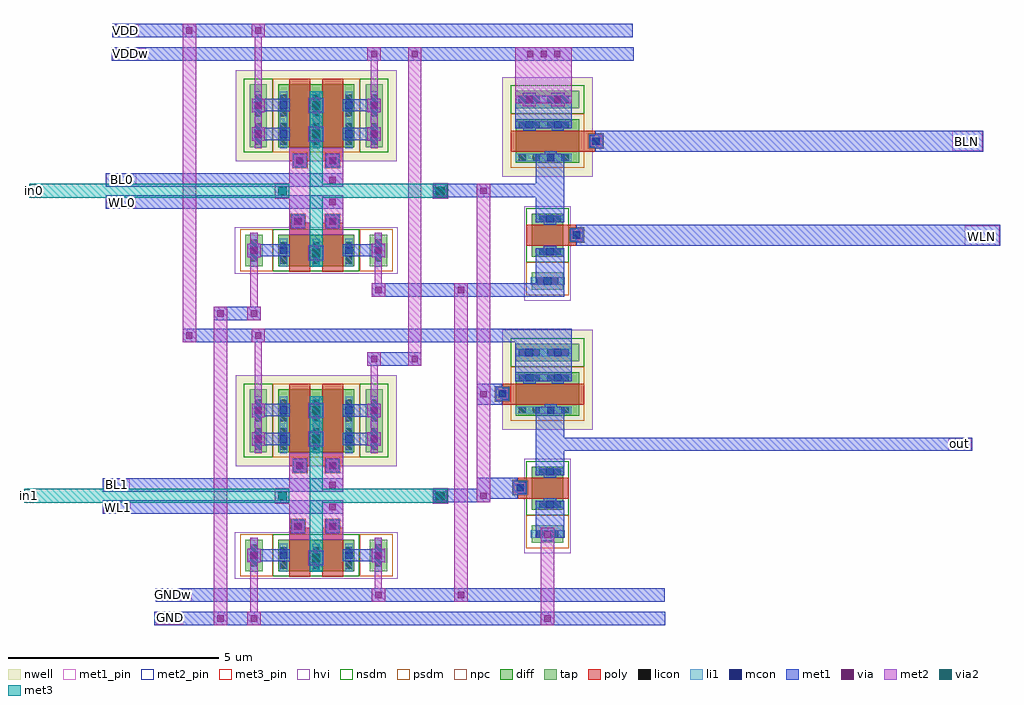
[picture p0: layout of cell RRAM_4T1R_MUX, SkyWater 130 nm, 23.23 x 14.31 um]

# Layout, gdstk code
from math import pi, radians
import gdstk
lib = gdstk.Library(unit=1e-6, precision=1e-09)
def R(c, l, rs):  # rectangles x0, y0, x1, y1
    for r in rs: c.add(gdstk.rectangle(r[:2], r[2:], *l))
def A(c, l, x, y, w, h, nx, ny, dx, dy):  # array of equal rectangles
    R(c, l, [(x+i*dx, y+j*dy, x+i*dx+w, y+j*dy+h) for i in range(nx) for j in range(ny)])
nwell = (64, 20)
diff = (65, 20)
tap = (65, 44)
poly = (66, 20)
licon = (66, 44)
li1 = (67, 20)
mcon = (67, 44)
met1_pin = (68, 16)
met1 = (68, 20)
via = (68, 44)
met2_pin = (69, 16)
met2 = (69, 20)
via2 = (69, 44)
met3_pin = (70, 16)
met3 = (70, 20)
hvi = (75, 20)
nsdm = (93, 44)
psdm = (94, 20)
npc = (95, 20)

l1m1_c_cdns_630369580172 = lib.new_cell('L1M1_C_CDNS_6303695801729')
R(l1m1_c_cdns_630369580172, li1, [(-0.085,-0.085,0.085,0.085)])
R(l1m1_c_cdns_630369580172, mcon, [(-0.085,-0.085,0.085,0.085)])
R(l1m1_c_cdns_630369580172, met1, [(-0.16,-0.16,0.16,0.16)])

l1m1_c_cdns_630369580173 = lib.new_cell('L1M1_C_CDNS_6303695801734')
R(l1m1_c_cdns_630369580173, li1, [(-0.085,-0.085,0.085,0.085)])
R(l1m1_c_cdns_630369580173, mcon, [(-0.085,-0.085,0.085,0.085)])
R(l1m1_c_cdns_630369580173, met1, [(-0.145,-0.145,0.145,0.145)])

l1m1_c_cdns_630369580174 = lib.new_cell('L1M1_C_CDNS_6303695801740')
R(l1m1_c_cdns_630369580174, li1, [(-0.1,-0.1,0.1,0.1)])
R(l1m1_c_cdns_630369580174, mcon, [(-0.085,-0.085,0.085,0.085)])
R(l1m1_c_cdns_630369580174, met1, [(-0.16,-0.16,0.16,0.16)])

m1m2_c_cdns_630369580172 = lib.new_cell('M1M2_C_CDNS_6303695801725')
R(m1m2_c_cdns_630369580172, met1, [(-0.16,-0.16,0.16,0.16)])
R(m1m2_c_cdns_630369580172, via, [(-0.075,-0.075,0.075,0.075)])
R(m1m2_c_cdns_630369580172, met2, [(-0.16,-0.16,0.16,0.16)])

m1m2_c_cdns_630369580173 = lib.new_cell('M1M2_C_CDNS_6303695801739')
R(m1m2_c_cdns_630369580173, met1, [(-0.16,-0.16,0.16,0.16)])
R(m1m2_c_cdns_630369580173, via, [(-0.075,-0.075,0.075,0.075)])
R(m1m2_c_cdns_630369580173, met2, [(-0.185,-0.185,0.185,0.185)])

m1m2_c_cdns_630369580174 = lib.new_cell('M1M2_C_CDNS_6303695801741')
R(m1m2_c_cdns_630369580174, met1, [(-0.48,-0.16,0.48,0.16)])
A(m1m2_c_cdns_630369580174, via, -0.395, -0.075, 0.15, 0.15, 3, 1, 0.32, 0)
R(m1m2_c_cdns_630369580174, met2, [(-0.48,-0.16,0.48,0.16)])

m2m3_c_cdns_630369580173 = lib.new_cell('M2M3_C_CDNS_6303695801738')
R(m2m3_c_cdns_630369580173, met2, [(-0.185,-0.185,0.185,0.185)])
R(m2m3_c_cdns_630369580173, via2, [(-0.1,-0.1,0.1,0.1)])
R(m2m3_c_cdns_630369580173, met3, [(-0.165,-0.165,0.165,0.165)])

pyl1_c_cdns_630369580173 = lib.new_cell('PYL1_C_CDNS_6303695801737')
R(pyl1_c_cdns_630369580173, poly, [(-0.165,-0.165,0.165,0.165)])
R(pyl1_c_cdns_630369580173, licon, [(-0.085,-0.085,0.085,0.085)])
R(pyl1_c_cdns_630369580173, li1, [(-0.165,-0.165,0.165,0.165)])
R(pyl1_c_cdns_630369580173, npc, [(-0.185,-0.185,0.185,0.185)])

dfl1sd_cdns_630369580171 = lib.new_cell('DFL1sd_CDNS_6303695801712')
R(dfl1sd_cdns_630369580171, nwell, [(-0.18,-0.18,0.445,1.68)])
R(dfl1sd_cdns_630369580171, diff, [(0,0,0.265,1.5)])
A(dfl1sd_cdns_630369580171, licon, 0.055, 0.06, 0.17, 0.17, 1, 4, 0, 0.34)
R(dfl1sd_cdns_630369580171, li1, [(0.055,-0.02,0.225,1.33)])
R(dfl1sd_cdns_630369580171, psdm, [(-0.125,-0.125,0.39,1.625)])

pfet_symbolic_cdns_63036 = lib.new_cell('pfet_symbolic_CDNS_6303695801711')
R(pfet_symbolic_cdns_63036, nwell, [(-0.445,-0.18,0.945,1.68)])
R(pfet_symbolic_cdns_63036, diff, [(-0.25,0,0,1.5), (0,0,0.5,1.5), (0.5,0,0.75,1.5)])
R(pfet_symbolic_cdns_63036, poly, [(0,-0.13,0.5,1.63), (0,-0.13,0.5,0), (0,1.5,0.5,1.63)])
R(pfet_symbolic_cdns_63036, li1, [(-0.225,-0.02,-0.055,1.33), (0.555,-0.02,0.725,1.33)])
R(pfet_symbolic_cdns_63036, psdm, [(-0.25,-0.125,0.75,1.625)])
pfet_symbolic_cdns_63036.add(gdstk.Reference(dfl1sd_cdns_630369580171, (0.5,0)))
pfet_symbolic_cdns_63036.add(gdstk.Reference(dfl1sd_cdns_630369580171, (0,0), rotation=pi, x_reflection=True))
pfet_symbolic_cdns_63036.add(gdstk.Label('D', (0.64,0.655), layer=83, texttype=44))
pfet_symbolic_cdns_63036.add(gdstk.Label('S', (-0.14,0.655), layer=83, texttype=44))

pfet_cdns_6303695801710 = lib.new_cell('pfet_CDNS_6303695801710')
R(pfet_cdns_6303695801710, nwell, [(-1.275,-0.33,-0.445,1.83), (-0.595,-0.33,1.095,1.83)])
R(pfet_cdns_6303695801710, tap, [(-0.945,0,-0.535,1.5)])
A(pfet_cdns_6303695801710, licon, -0.825, 0.06, 0.17, 0.17, 1, 4, 0, 0.34)
R(pfet_cdns_6303695801710, li1, [(-0.825,-0.02,-0.655,1.33)])
R(pfet_cdns_6303695801710, hvi, [(-1.275,-0.33,-0.445,1.83), (-0.595,-0.33,1.095,1.83)])
R(pfet_cdns_6303695801710, nsdm, [(-1.08,-0.125,-0.4,1.625)])
R(pfet_cdns_6303695801710, psdm, [(-0.4,-0.125,-0.39,1.625)])
pfet_cdns_6303695801710.add(gdstk.Reference(pfet_symbolic_cdns_63036, (0,0)))

rram2_0 = lib.new_cell('rram2_0')
R(rram2_0, met1_pin, [(-0.16,-0.13,0.16,0.13)])
R(rram2_0, met1, [(-0.16,-0.13,0.16,0.13)])
R(rram2_0, via, [(-0.075,-0.075,0.075,0.075)])
R(rram2_0, met2_pin, [(-0.13,-0.16,0.13,0.16)])
R(rram2_0, met2, [(-0.13,-0.16,0.13,0.16)])
rram2_0.add(gdstk.Label('TE', (0,0), layer=69, texttype=5))
rram2_0.add(gdstk.Label('BE', (0,0), layer=68, texttype=5))

dfl1sd_cdns_630369580176 = lib.new_cell('DFL1sd_CDNS_630369580176')
R(dfl1sd_cdns_630369580176, diff, [(0,0,0.265,0.75)])
R(dfl1sd_cdns_630369580176, licon, [(0.055,0.06,0.225,0.23), (0.055,0.4,0.225,0.57)])
R(dfl1sd_cdns_630369580176, li1, [(0.055,-0.02,0.225,0.65)])
R(dfl1sd_cdns_630369580176, nsdm, [(-0.125,-0.125,0.39,0.875)])

nfet_symbolic_cdns_63036 = lib.new_cell('nfet_symbolic_CDNS_630369580175')
R(nfet_symbolic_cdns_63036, diff, [(-0.25,0,0,0.75), (0,0,0.5,0.75), (0.5,0,0.75,0.75)])
R(nfet_symbolic_cdns_63036, poly, [(0,-0.13,0.5,0.88), (0,-0.13,0.5,0), (0,0.75,0.5,0.88)])
R(nfet_symbolic_cdns_63036, li1, [(-0.225,-0.02,-0.055,0.65), (0.555,-0.02,0.725,0.65)])
R(nfet_symbolic_cdns_63036, nsdm, [(-0.25,-0.125,0.75,0.875)])
nfet_symbolic_cdns_63036.add(gdstk.Reference(dfl1sd_cdns_630369580176, (0.5,0)))
nfet_symbolic_cdns_63036.add(gdstk.Reference(dfl1sd_cdns_630369580176, (0,0), rotation=pi, x_reflection=True))
nfet_symbolic_cdns_63036.add(gdstk.Label('D', (0.64,0.315), layer=83, texttype=44))
nfet_symbolic_cdns_63036.add(gdstk.Label('S', (-0.14,0.315), layer=83, texttype=44))

nfet_cdns_630369580174 = lib.new_cell('nfet_CDNS_630369580174')
R(nfet_cdns_630369580174, hvi, [(-0.445,-0.18,0.945,0.93)])
nfet_cdns_630369580174.add(gdstk.Reference(nfet_symbolic_cdns_63036, (0,0)))

rram_4t1r_mux = lib.new_cell('RRAM_4T1R_MUX')
R(rram_4t1r_mux, tap, [(0.05,-13.265,0.46,-12.515), (3.01,-13.265,3.42,-12.515), (6.865,-12.585,7.615,-12.175), (6.865,-6.565,7.615,-6.155), (0.05,-6.005,0.46,-5.255), (3.01,-6.005,3.42,-5.255)])
R(rram_4t1r_mux, poly, [(1.095,-12.385,1.595,-12.235), (1.875,-12.385,2.375,-12.235), (6.535,-11.54,6.735,-11.04), (1.095,-10.765,1.595,-10.565), (1.875,-10.765,2.375,-10.565), (6.16,-9.3,6.36,-8.8), (7.745,-5.52,7.92,-5.02), (1.095,-5.125,1.595,-4.975), (1.875,-5.125,2.375,-4.975), (1.095,-3.505,1.595,-3.305), (1.875,-3.505,2.375,-3.305), (8.12,-3.28,8.375,-2.78)])
R(rram_4t1r_mux, licon, [(3.13,-13.15,3.3,-12.98), (0.17,-13.145,0.34,-12.975), (0.17,-12.805,0.34,-12.635), (3.13,-12.8,3.3,-12.63), (6.98,-12.465,7.15,-12.295), (7.33,-12.465,7.5,-12.295), (6.98,-6.445,7.15,-6.275), (7.33,-6.445,7.5,-6.275), (3.13,-5.89,3.3,-5.72), (0.17,-5.885,0.34,-5.715), (0.17,-5.545,0.34,-5.375), (3.13,-5.54,3.3,-5.37)])
R(rram_4t1r_mux, li1, [(0.17,-13.285,0.34,-12.475), (3.13,-13.285,3.3,-12.475), (6.845,-12.465,7.655,-12.295), (6.845,-6.445,7.655,-6.275), (0.17,-6.025,0.34,-5.215), (3.13,-6.025,3.3,-5.215)])
R(rram_4t1r_mux, met1_pin, [(-2.085,-14.535,-1.43,-14.25), (-2.075,-13.98,-1.23,-13.69), (-3.325,-11.885,-2.675,-11.6), (-3.315,-11.37,-2.7,-11.08), (16.78,-10.39,17.33,-10.105), (17.175,-5.505,17.99,-5.05), (-3.265,-4.63,-2.565,-4.33), (-3.265,-4.11,-2.55,-3.805), (16.87,-3.265,17.59,-2.8), (-3.12,-1.105,-2.31,-0.815), (-3.1,-0.545,-2.49,-0.26)])
R(rram_4t1r_mux, met1, [(-2.12,-14.55,10.045,-14.23), (-2.09,-13.995,10.035,-13.675), (0.11,-13.035,1.1,-12.745), (2.37,-13.035,3.365,-12.745), (6.965,-12.465,7.635,-11.595), (-3.345,-11.9,2.375,-11.58), (4.535,-11.63,5.875,-11.31), (5.555,-11.54,6.535,-11.04), (-3.345,-11.375,2.375,-11.055), (6.965,-10.985,7.635,-9.355), (7.635,-10.405,17.345,-10.085), (0.21,-10.265,1.1,-9.975), (2.37,-10.265,3.26,-9.975), (2.37,-9.585,3.26,-9.295), (0.21,-9.575,1.1,-9.285), (5.555,-9.3,6.16,-8.8), (6.47,-8.745,7.82,-7.5), (2.955,-8.375,4.24,-8.055), (-1.445,-7.82,7.815,-7.5), (-0.7,-7.29,0.415,-6.97), (3.055,-6.735,7.635,-6.415), (6.965,-6.735,7.635,-5.575), (0.11,-5.775,1.1,-5.485), (2.37,-5.775,3.365,-5.485), (7.92,-5.52,18.01,-5.02), (6.965,-4.965,7.635,-3.335), (-3.28,-4.64,2.375,-4.32), (4.535,-4.37,5.875,-4.05), (5.555,-4.37,7.31,-4.05), (-3.28,-4.115,2.375,-3.795), (8.375,-3.28,17.61,-2.78), (0.21,-3.005,1.1,-2.715), (2.37,-3.005,3.26,-2.715), (6.47,-2.725,7.82,-1.955), (2.37,-2.325,3.26,-2.035), (0.21,-2.315,1.1,-2.025), (-3.135,-1.115,9.29,-0.795), (-3.12,-0.56,9.27,-0.24)])
R(rram_4t1r_mux, met2, [(-0.7,-14.55,-0.38,-6.97), (0.17,-14.55,0.34,-12.475), (7.08,-14.55,7.4,-12.235), (3.13,-13.995,3.3,-12.475), (5.02,-13.995,5.34,-6.415), (1.095,-12.515,1.595,-10.445), (1.875,-12.515,2.375,-11.58), (5.555,-11.63,5.875,-4.05), (1.875,-11.375,2.375,-10.445), (0.27,-10.455,0.44,-7.5), (3.03,-10.455,3.2,-8.055), (3.92,-8.375,4.24,-0.795), (-1.445,-7.82,-1.125,-0.24), (0.17,-7.29,0.34,-5.215), (3.13,-6.735,3.3,-5.215), (1.095,-5.255,1.595,-3.185), (1.875,-5.255,2.375,-4.32), (1.875,-4.115,2.375,-3.185), (0.27,-3.195,0.44,-0.24), (3.03,-3.195,3.2,-0.795), (6.47,-2.125,7.82,-0.795)])
R(rram_4t1r_mux, met3_pin, [(-5.21,-11.63,-4.965,-11.32), (-5.085,-4.37,-4.815,-4.06)])
R(rram_4t1r_mux, met3, [(1.585,-13.285,1.885,-9.105), (-5.22,-11.64,1.095,-11.31), (1.585,-11.64,4.86,-11.31), (1.585,-6.025,1.885,-1.845), (-5.095,-4.38,1.095,-4.05), (1.585,-4.38,4.86,-4.05)])
R(rram_4t1r_mux, hvi, [(-0.2,-13.445,0.655,-12.335), (2.82,-13.445,3.68,-12.335), (6.685,-12.845,7.795,-11.985), (6.685,-6.825,7.795,-5.965), (-0.2,-6.185,0.655,-5.075), (2.82,-6.185,3.68,-5.075)])
R(rram_4t1r_mux, psdm, [(-0.075,-13.39,0.7,-12.39), (2.77,-13.39,3.555,-12.39), (6.74,-12.72,7.74,-11.935), (6.74,-6.7,7.74,-5.915), (-0.075,-6.13,0.7,-5.13), (2.77,-6.13,3.555,-5.13)])
rram_4t1r_mux.add(gdstk.Reference(l1m1_c_cdns_630369580172, (0.355,-10.12)))
rram_4t1r_mux.add(gdstk.Reference(l1m1_c_cdns_630369580172, (3.215,-12.895)))
rram_4t1r_mux.add(gdstk.Reference(l1m1_c_cdns_630369580172, (0.255,-12.89)))
rram_4t1r_mux.add(gdstk.Reference(l1m1_c_cdns_630369580172, (3.115,-10.12)))
rram_4t1r_mux.add(gdstk.Reference(l1m1_c_cdns_630369580172, (3.115,-9.44)))
rram_4t1r_mux.add(gdstk.Reference(l1m1_c_cdns_630369580172, (0.355,-9.44)))
rram_4t1r_mux.add(gdstk.Reference(l1m1_c_cdns_630369580172, (2.125,-12.2)))
rram_4t1r_mux.add(gdstk.Reference(l1m1_c_cdns_630369580172, (2.125,-10.755)))
rram_4t1r_mux.add(gdstk.Reference(l1m1_c_cdns_630369580172, (1.345,-10.755)))
rram_4t1r_mux.add(gdstk.Reference(l1m1_c_cdns_630369580172, (1.3,-12.2)))
rram_4t1r_mux.add(gdstk.Reference(l1m1_c_cdns_630369580172, (0.355,-2.86)))
rram_4t1r_mux.add(gdstk.Reference(l1m1_c_cdns_630369580172, (3.115,-2.86)))
rram_4t1r_mux.add(gdstk.Reference(l1m1_c_cdns_630369580172, (3.215,-5.635)))
rram_4t1r_mux.add(gdstk.Reference(l1m1_c_cdns_630369580172, (0.255,-5.63)))
rram_4t1r_mux.add(gdstk.Reference(l1m1_c_cdns_630369580172, (2.125,-4.94)))
rram_4t1r_mux.add(gdstk.Reference(l1m1_c_cdns_630369580172, (2.125,-3.495)))
rram_4t1r_mux.add(gdstk.Reference(l1m1_c_cdns_630369580172, (1.345,-3.495)))
rram_4t1r_mux.add(gdstk.Reference(l1m1_c_cdns_630369580172, (1.3,-4.94)))
rram_4t1r_mux.add(gdstk.Reference(l1m1_c_cdns_630369580172, (3.115,-2.18)))
rram_4t1r_mux.add(gdstk.Reference(l1m1_c_cdns_630369580172, (0.355,-2.18)))
rram_4t1r_mux.add(gdstk.Reference(l1m1_c_cdns_630369580172, (7.485,-2.04)))
rram_4t1r_mux.add(gdstk.Reference(l1m1_c_cdns_630369580172, (6.805,-2.04)))
rram_4t1r_mux.add(gdstk.Reference(l1m1_c_cdns_630369580173, (7.315,-9.44)))
rram_4t1r_mux.add(gdstk.Reference(l1m1_c_cdns_630369580173, (6.17,-9.045)))
rram_4t1r_mux.add(gdstk.Reference(l1m1_c_cdns_630369580173, (6.59,-11.28)))
rram_4t1r_mux.add(gdstk.Reference(l1m1_c_cdns_630369580173, (6.8,-8.06)))
rram_4t1r_mux.add(gdstk.Reference(l1m1_c_cdns_630369580173, (7.48,-8.06)))
rram_4t1r_mux.add(gdstk.Reference(l1m1_c_cdns_630369580173, (7.485,-8.66)))
rram_4t1r_mux.add(gdstk.Reference(l1m1_c_cdns_630369580173, (6.81,-8.66)))
rram_4t1r_mux.add(gdstk.Reference(l1m1_c_cdns_630369580173, (7.3,-11.68)))
rram_4t1r_mux.add(gdstk.Reference(l1m1_c_cdns_630369580173, (7.3,-10.9)))
rram_4t1r_mux.add(gdstk.Reference(l1m1_c_cdns_630369580173, (2.515,-9.44)))
rram_4t1r_mux.add(gdstk.Reference(l1m1_c_cdns_630369580173, (0.955,-9.43)))
rram_4t1r_mux.add(gdstk.Reference(l1m1_c_cdns_630369580173, (0.955,-10.12)))
rram_4t1r_mux.add(gdstk.Reference(l1m1_c_cdns_630369580173, (0.955,-12.89)))
rram_4t1r_mux.add(gdstk.Reference(l1m1_c_cdns_630369580173, (2.515,-12.89)))
rram_4t1r_mux.add(gdstk.Reference(l1m1_c_cdns_630369580173, (2.515,-10.12)))
rram_4t1r_mux.add(gdstk.Reference(l1m1_c_cdns_630369580173, (2.515,-5.63)))
rram_4t1r_mux.add(gdstk.Reference(l1m1_c_cdns_630369580173, (2.515,-2.86)))
rram_4t1r_mux.add(gdstk.Reference(l1m1_c_cdns_630369580173, (2.515,-2.18)))
rram_4t1r_mux.add(gdstk.Reference(l1m1_c_cdns_630369580173, (0.955,-2.17)))
rram_4t1r_mux.add(gdstk.Reference(l1m1_c_cdns_630369580173, (0.955,-2.86)))
rram_4t1r_mux.add(gdstk.Reference(l1m1_c_cdns_630369580173, (0.955,-5.63)))
rram_4t1r_mux.add(gdstk.Reference(l1m1_c_cdns_630369580173, (8.395,-3.03)))
rram_4t1r_mux.add(gdstk.Reference(l1m1_c_cdns_630369580173, (7.93,-5.265)))
rram_4t1r_mux.add(gdstk.Reference(l1m1_c_cdns_630369580173, (7.485,-2.64)))
rram_4t1r_mux.add(gdstk.Reference(l1m1_c_cdns_630369580173, (6.81,-2.64)))
rram_4t1r_mux.add(gdstk.Reference(l1m1_c_cdns_630369580173, (7.3,-5.66)))
rram_4t1r_mux.add(gdstk.Reference(l1m1_c_cdns_630369580173, (7.24,-6.36)))
rram_4t1r_mux.add(gdstk.Reference(l1m1_c_cdns_630369580173, (7.315,-3.42)))
rram_4t1r_mux.add(gdstk.Reference(l1m1_c_cdns_630369580173, (7.3,-4.88)))
rram_4t1r_mux.add(gdstk.Reference(l1m1_c_cdns_630369580174, (1.735,-12.95)))
rram_4t1r_mux.add(gdstk.Reference(l1m1_c_cdns_630369580174, (1.735,-10.12)))
rram_4t1r_mux.add(gdstk.Reference(l1m1_c_cdns_630369580174, (1.735,-9.44)))
rram_4t1r_mux.add(gdstk.Reference(l1m1_c_cdns_630369580174, (1.735,-5.69)))
rram_4t1r_mux.add(gdstk.Reference(l1m1_c_cdns_630369580174, (1.735,-2.18)))
rram_4t1r_mux.add(gdstk.Reference(l1m1_c_cdns_630369580174, (1.735,-2.86)))
rram_4t1r_mux.add(gdstk.Reference(m1m2_c_cdns_630369580172, (4.08,-8.215)))
rram_4t1r_mux.add(gdstk.Reference(m1m2_c_cdns_630369580172, (5.18,-13.835)))
rram_4t1r_mux.add(gdstk.Reference(m1m2_c_cdns_630369580172, (7.24,-14.39)))
rram_4t1r_mux.add(gdstk.Reference(m1m2_c_cdns_630369580172, (5.715,-9.055)))
rram_4t1r_mux.add(gdstk.Reference(m1m2_c_cdns_630369580172, (7.24,-12.395)))
rram_4t1r_mux.add(gdstk.Reference(m1m2_c_cdns_630369580172, (5.715,-11.47)))
rram_4t1r_mux.add(gdstk.Reference(m1m2_c_cdns_630369580172, (1.3,-12.2)))
rram_4t1r_mux.add(gdstk.Reference(m1m2_c_cdns_630369580172, (-1.285,-7.66)))
rram_4t1r_mux.add(gdstk.Reference(m1m2_c_cdns_630369580172, (-0.54,-14.39)))
rram_4t1r_mux.add(gdstk.Reference(m1m2_c_cdns_630369580172, (0.355,-10.12)))
rram_4t1r_mux.add(gdstk.Reference(m1m2_c_cdns_630369580172, (3.215,-12.895)))
rram_4t1r_mux.add(gdstk.Reference(m1m2_c_cdns_630369580172, (0.255,-14.39)))
rram_4t1r_mux.add(gdstk.Reference(m1m2_c_cdns_630369580172, (3.215,-13.835)))
rram_4t1r_mux.add(gdstk.Reference(m1m2_c_cdns_630369580172, (3.115,-8.215)))
rram_4t1r_mux.add(gdstk.Reference(m1m2_c_cdns_630369580172, (0.355,-7.66)))
rram_4t1r_mux.add(gdstk.Reference(m1m2_c_cdns_630369580172, (2.12,-11.215)))
rram_4t1r_mux.add(gdstk.Reference(m1m2_c_cdns_630369580172, (2.12,-11.74)))
rram_4t1r_mux.add(gdstk.Reference(m1m2_c_cdns_630369580172, (0.255,-12.89)))
rram_4t1r_mux.add(gdstk.Reference(m1m2_c_cdns_630369580172, (3.115,-10.12)))
rram_4t1r_mux.add(gdstk.Reference(m1m2_c_cdns_630369580172, (3.115,-9.44)))
rram_4t1r_mux.add(gdstk.Reference(m1m2_c_cdns_630369580172, (0.355,-9.44)))
rram_4t1r_mux.add(gdstk.Reference(m1m2_c_cdns_630369580172, (2.125,-12.2)))
rram_4t1r_mux.add(gdstk.Reference(m1m2_c_cdns_630369580172, (2.125,-10.755)))
rram_4t1r_mux.add(gdstk.Reference(m1m2_c_cdns_630369580172, (1.345,-10.755)))
rram_4t1r_mux.add(gdstk.Reference(m1m2_c_cdns_630369580172, (3.115,-2.18)))
rram_4t1r_mux.add(gdstk.Reference(m1m2_c_cdns_630369580172, (0.355,-2.18)))
rram_4t1r_mux.add(gdstk.Reference(m1m2_c_cdns_630369580172, (-1.285,-0.4)))
rram_4t1r_mux.add(gdstk.Reference(m1m2_c_cdns_630369580172, (-0.54,-7.13)))
rram_4t1r_mux.add(gdstk.Reference(m1m2_c_cdns_630369580172, (0.355,-2.86)))
rram_4t1r_mux.add(gdstk.Reference(m1m2_c_cdns_630369580172, (3.215,-5.635)))
rram_4t1r_mux.add(gdstk.Reference(m1m2_c_cdns_630369580172, (0.255,-7.13)))
rram_4t1r_mux.add(gdstk.Reference(m1m2_c_cdns_630369580172, (3.215,-6.575)))
rram_4t1r_mux.add(gdstk.Reference(m1m2_c_cdns_630369580172, (3.115,-0.955)))
rram_4t1r_mux.add(gdstk.Reference(m1m2_c_cdns_630369580172, (0.355,-0.4)))
rram_4t1r_mux.add(gdstk.Reference(m1m2_c_cdns_630369580172, (2.12,-3.955)))
rram_4t1r_mux.add(gdstk.Reference(m1m2_c_cdns_630369580172, (2.12,-4.48)))
rram_4t1r_mux.add(gdstk.Reference(m1m2_c_cdns_630369580172, (2.125,-4.94)))
rram_4t1r_mux.add(gdstk.Reference(m1m2_c_cdns_630369580172, (2.125,-3.495)))
rram_4t1r_mux.add(gdstk.Reference(m1m2_c_cdns_630369580172, (1.345,-3.495)))
rram_4t1r_mux.add(gdstk.Reference(m1m2_c_cdns_630369580172, (1.3,-4.94)))
rram_4t1r_mux.add(gdstk.Reference(m1m2_c_cdns_630369580172, (0.255,-5.63)))
rram_4t1r_mux.add(gdstk.Reference(m1m2_c_cdns_630369580172, (3.115,-2.86)))
rram_4t1r_mux.add(gdstk.Reference(m1m2_c_cdns_630369580172, (4.08,-0.955)))
rram_4t1r_mux.add(gdstk.Reference(m1m2_c_cdns_630369580172, (5.18,-6.575)))
rram_4t1r_mux.add(gdstk.Reference(m1m2_c_cdns_630369580172, (7.485,-2.04)))
rram_4t1r_mux.add(gdstk.Reference(m1m2_c_cdns_630369580172, (6.805,-2.04)))
rram_4t1r_mux.add(gdstk.Reference(m1m2_c_cdns_630369580172, (5.715,-4.21)))
rram_4t1r_mux.add(gdstk.Reference(m1m2_c_cdns_630369580173, (1.735,-12.95)))
rram_4t1r_mux.add(gdstk.Reference(m1m2_c_cdns_630369580173, (1.735,-10.12)))
rram_4t1r_mux.add(gdstk.Reference(m1m2_c_cdns_630369580173, (1.735,-9.44)))
rram_4t1r_mux.add(gdstk.Reference(m1m2_c_cdns_630369580173, (1.735,-2.18)))
rram_4t1r_mux.add(gdstk.Reference(m1m2_c_cdns_630369580173, (1.735,-5.69)))
rram_4t1r_mux.add(gdstk.Reference(m1m2_c_cdns_630369580173, (1.735,-2.86)))
rram_4t1r_mux.add(gdstk.Reference(m1m2_c_cdns_630369580174, (7.15,-0.955)))
rram_4t1r_mux.add(gdstk.Reference(m2m3_c_cdns_630369580173, (4.695,-11.475)))
rram_4t1r_mux.add(gdstk.Reference(m2m3_c_cdns_630369580173, (1.735,-12.95)))
rram_4t1r_mux.add(gdstk.Reference(m2m3_c_cdns_630369580173, (1.735,-10.12)))
rram_4t1r_mux.add(gdstk.Reference(m2m3_c_cdns_630369580173, (1.735,-9.44)))
rram_4t1r_mux.add(gdstk.Reference(m2m3_c_cdns_630369580173, (0.93,-11.475)))
rram_4t1r_mux.add(gdstk.Reference(m2m3_c_cdns_630369580173, (1.735,-5.69)))
rram_4t1r_mux.add(gdstk.Reference(m2m3_c_cdns_630369580173, (1.735,-2.86)))
rram_4t1r_mux.add(gdstk.Reference(m2m3_c_cdns_630369580173, (1.735,-2.18)))
rram_4t1r_mux.add(gdstk.Reference(m2m3_c_cdns_630369580173, (0.93,-4.215)))
rram_4t1r_mux.add(gdstk.Reference(m2m3_c_cdns_630369580173, (4.695,-4.215)))
rram_4t1r_mux.add(gdstk.Reference(pyl1_c_cdns_630369580173, (6.59,-11.28)))
rram_4t1r_mux.add(gdstk.Reference(pyl1_c_cdns_630369580173, (6.17,-9.045)))
rram_4t1r_mux.add(gdstk.Reference(pyl1_c_cdns_630369580173, (2.125,-12.2)))
rram_4t1r_mux.add(gdstk.Reference(pyl1_c_cdns_630369580173, (2.125,-10.755)))
rram_4t1r_mux.add(gdstk.Reference(pyl1_c_cdns_630369580173, (1.345,-10.755)))
rram_4t1r_mux.add(gdstk.Reference(pyl1_c_cdns_630369580173, (1.3,-12.2)))
rram_4t1r_mux.add(gdstk.Reference(pyl1_c_cdns_630369580173, (2.125,-4.94)))
rram_4t1r_mux.add(gdstk.Reference(pyl1_c_cdns_630369580173, (2.125,-3.495)))
rram_4t1r_mux.add(gdstk.Reference(pyl1_c_cdns_630369580173, (1.345,-3.495)))
rram_4t1r_mux.add(gdstk.Reference(pyl1_c_cdns_630369580173, (1.3,-4.94)))
rram_4t1r_mux.add(gdstk.Reference(pyl1_c_cdns_630369580173, (8.395,-3.03)))
rram_4t1r_mux.add(gdstk.Reference(pyl1_c_cdns_630369580173, (7.93,-5.265)))
rram_4t1r_mux.add(gdstk.Reference(pfet_cdns_6303695801710, (1.095,-10.435)))
rram_4t1r_mux.add(gdstk.Reference(pfet_cdns_6303695801710, (1.095,-3.175)))
rram_4t1r_mux.add(gdstk.Reference(pfet_cdns_6303695801710, (2.375,-10.435), rotation=pi, x_reflection=True))
rram_4t1r_mux.add(gdstk.Reference(pfet_cdns_6303695801710, (2.375,-3.175), rotation=pi, x_reflection=True))
rram_4t1r_mux.add(gdstk.Reference(pfet_cdns_6303695801710, (6.49,-8.8), rotation=3*pi/2))
rram_4t1r_mux.add(gdstk.Reference(pfet_cdns_6303695801710, (6.49,-2.78), rotation=3*pi/2))
rram_4t1r_mux.add(gdstk.Reference(rram2_0, (4.695,-11.47)))
rram_4t1r_mux.add(gdstk.Reference(rram2_0, (4.695,-4.21)))
rram_4t1r_mux.add(gdstk.Reference(nfet_cdns_630369580174, (1.095,-13.265)))
rram_4t1r_mux.add(gdstk.Reference(nfet_cdns_630369580174, (1.095,-6.005)))
rram_4t1r_mux.add(gdstk.Reference(nfet_cdns_630369580174, (7.615,-11.54), rotation=pi/2))
rram_4t1r_mux.add(gdstk.Reference(nfet_cdns_630369580174, (7.615,-5.52), rotation=pi/2))
rram_4t1r_mux.add(gdstk.Reference(nfet_cdns_630369580174, (2.375,-13.265), rotation=pi, x_reflection=True))
rram_4t1r_mux.add(gdstk.Reference(nfet_cdns_630369580174, (2.375,-6.005), rotation=pi, x_reflection=True))
rram_4t1r_mux.add(gdstk.Label('out', (17.045,-10.23), layer=68, texttype=16))
rram_4t1r_mux.add(gdstk.Label('WLN', (17.57,-5.295), layer=68, texttype=16))
rram_4t1r_mux.add(gdstk.Label('BLN', (17.22,-3.045), layer=68, texttype=16))
rram_4t1r_mux.add(gdstk.Label('WL1', (-2.98,-11.745), layer=68, texttype=16))
rram_4t1r_mux.add(gdstk.Label('BL1', (-3,-11.205), layer=68, texttype=16))
rram_4t1r_mux.add(gdstk.Label('WL0', (-2.88,-4.49), layer=68, texttype=16))
rram_4t1r_mux.add(gdstk.Label('BL0', (-2.885,-3.945), layer=68, texttype=16))
rram_4t1r_mux.add(gdstk.Label('GNDw', (-1.67,-13.825), layer=68, texttype=16))
rram_4t1r_mux.add(gdstk.Label('GND', (-1.745,-14.38), layer=68, texttype=16))
rram_4t1r_mux.add(gdstk.Label('VDDw', (-2.695,-0.95), layer=68, texttype=16))
rram_4t1r_mux.add(gdstk.Label('VDD', (-2.795,-0.395), layer=68, texttype=16))
rram_4t1r_mux.add(gdstk.Label('in1', (-5.085,-11.475), layer=70, texttype=16))
rram_4t1r_mux.add(gdstk.Label('in0', (-4.96,-4.2), layer=70, texttype=16))

lib.write_gds('RRAM_4T1R_MUX.gds')
